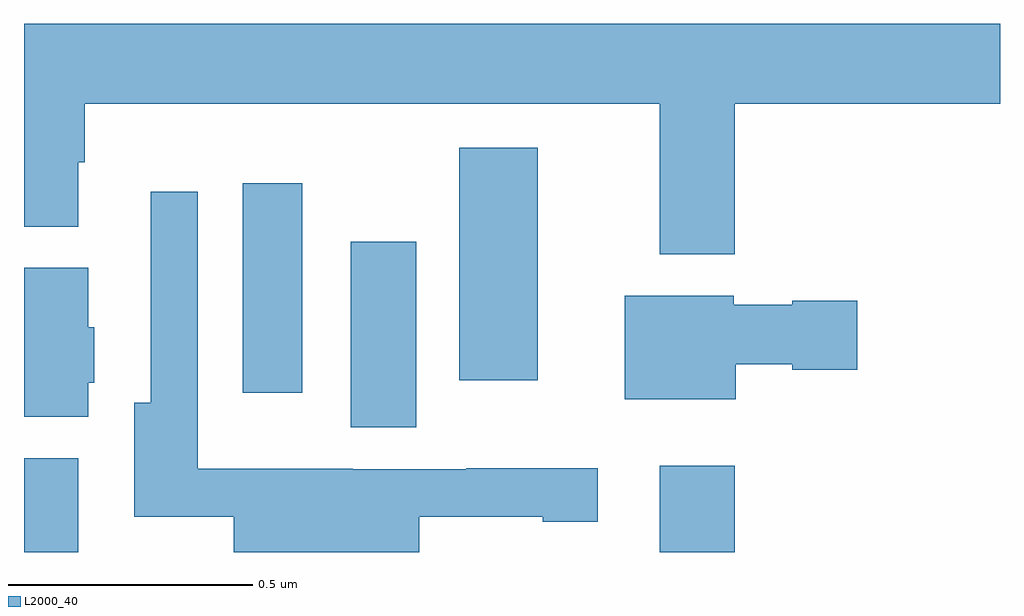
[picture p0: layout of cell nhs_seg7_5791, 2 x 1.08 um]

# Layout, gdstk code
import gdstk
lib = gdstk.Library(unit=1e-6, precision=1e-09)
def R(c, l, rs):  # rectangles x0, y0, x1, y1
    for r in rs: c.add(gdstk.rectangle(r[:2], r[2:], *l))
def P(c, l, *ps):  # polygons
    for p in ps: c.add(gdstk.Polygon(p, *l))
L2000_40 = (2000, 40)

nhs_seg7_5791 = lib.new_cell('nhs_seg7_5791')
R(nhs_seg7_5791, L2000_40, [(190,1029,190.111,1029.193), (191.303,1029,191.456,1029.178), (190.67,1029.257,190.804,1029.637), (190.448,1029.327,190.57,1029.757), (190.892,1029.353,191.053,1029.829)])
P(nhs_seg7_5791, L2000_40, [(191.456,1029.92),(192,1029.92),(192,1030.084),(190,1030.084),(190,1029.668),(190.111,1029.668),(190.111,1029.8),(190.124,1029.8),(190.124,1029.92),(191.303,1029.92),(191.303,1029.611),(191.456,1029.611)],
  [(190.81,1029.073),(191.063,1029.073),(191.063,1029.063),(191.176,1029.063),(191.176,1029.173),(190.906,1029.173),(190.906,1029.171),(190.674,1029.171),(190.674,1029.172),(190.356,1029.172),(190.356,1029.739),(190.26,1029.739),(190.26,1029.307),(190.226,1029.307),(190.226,1029.073),(190.43,1029.073),(190.43,1029),(190.81,1029)],
  [(190.132,1029.348),(190.144,1029.348),(190.144,1029.462),(190.132,1029.462),(190.132,1029.583),(190,1029.583),(190,1029.278),(190.132,1029.278)],
  [(191.458,1029.386),(191.574,1029.386),(191.574,1029.374),(191.707,1029.374),(191.707,1029.516),(191.574,1029.516),(191.574,1029.508),(191.454,1029.508),(191.454,1029.526),(191.231,1029.526),(191.231,1029.314),(191.458,1029.314)])

lib.write_gds('nhs_seg7_5791.gds')
